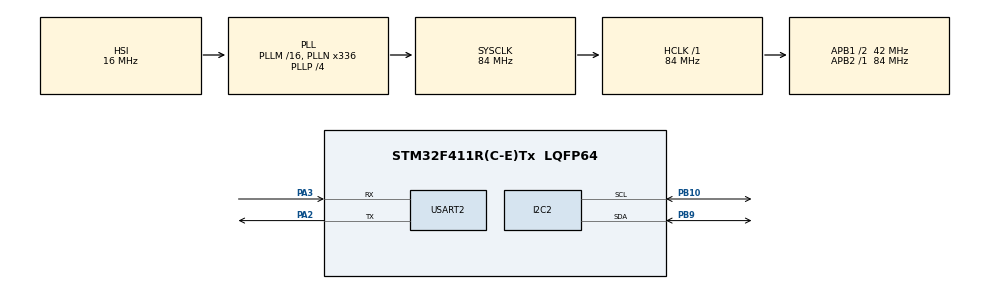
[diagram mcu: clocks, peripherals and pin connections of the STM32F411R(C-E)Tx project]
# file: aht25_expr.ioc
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FREERTOS.Queues01=myQueue01,16,uint16_t,0,Dynamic,NULL,NULL
FREERTOS.Tasks01=Task1,24,128,StartTask1,Default,NULL,Dynamic,NULL,NULL;Task2,8,128,StartTask2,Default,NULL,Dynamic,NULL,NULL
Mcu.Family=STM32F4
Mcu.Name=STM32F411R(C-E)Tx
Mcu.Package=LQFP64
NVIC.PriorityGroup=NVIC_PRIORITYGROUP_4
NVIC.TIM4_IRQn=true\:15\:0\:false\:false\:true\:false\:false\:true\:true
NVIC.TimeBase=TIM4_IRQn
NVIC.TimeBaseIP=TIM4
PA13.Mode=Trace_Asynchronous_SW
PA13.Signal=SYS_JTMS-SWDIO
PA14.Mode=Trace_Asynchronous_SW
PA14.Signal=SYS_JTCK-SWCLK
PA2.Mode=Asynchronous
PA2.Signal=USART2_TX
PA3.Mode=Asynchronous
PA3.Signal=USART2_RX
PB10.GPIO_Pu=GPIO_PULLUP
PB10.Mode=I2C
PB10.Signal=I2C2_SCL
PB3.Mode=Trace_Asynchronous_SW
PB3.Signal=SYS_JTDO-SWO
PB9.GPIO_Pu=GPIO_PULLUP
PB9.Mode=I2C
PB9.Signal=I2C2_SDA
ProjectManager.HeapSize=0x200
ProjectManager.StackSize=0x400
ProjectManager.TargetToolchain=STM32CubeIDE
RCC.48MHZClocksFreq_Value=84000000
RCC.AHBFreq_Value=84000000
RCC.APB1CLKDivider=RCC_HCLK_DIV2
RCC.APB1Freq_Value=42000000
RCC.APB1TimFreq_Value=84000000
RCC.APB2Freq_Value=84000000
RCC.APB2TimFreq_Value=84000000
RCC.CortexFreq_Value=84000000
RCC.FLatency-AdvancedSettings=FLASH_LATENCY_2
RCC.HCLKFreq_Value=84000000
RCC.HSE_VALUE=8000000
RCC.HSI_VALUE=16000000
RCC.PLLN=336
RCC.PLLP=RCC_PLLP_DIV4
RCC.SYSCLKFreq_VALUE=84000000
RCC.SYSCLKSource=RCC_SYSCLKSOURCE_PLLCLK
RCC.VCOOutputFreq_Value=336000000
USART2.VirtualMode=VM_ASYNC
VP_FREERTOS_VS_CMSIS_V2.Mode=CMSIS_V2
VP_SYS_VS_tim4.Mode=TIM4
board=NUCLEO-F411RE

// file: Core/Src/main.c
/* USER CODE BEGIN Header */
/**
  ******************************************************************************
  * @file           : main.c
  * @brief          : Main program body
  ******************************************************************************
  * @attention
  *
  * Copyright (c) 2023 STMicroelectronics.
  * All rights reserved.
  *
  * This software is licensed under terms that can be found in the LICENSE file
  * in the root directory of this software component.
  * If no LICENSE file comes with this software, it is provided AS-IS.
  *
  ******************************************************************************
  */
/* USER CODE END Header */
#include "main.h"
#include "cmsis_os.h"

/* USER CODE BEGIN Includes */
#include "string.h"
#include "stdio.h"

/* USER CODE END Includes */

/* USER CODE BEGIN PD */
#define AHT25_ADDR 0x70
#define AHT25_INIT_CMD 0xE1
#define AHT25_MEASURE_CMD 0xAC
/* USER CODE END PD */

I2C_HandleTypeDef hi2c2;

UART_HandleTypeDef huart2;

/* Definitions for Task1 */
osThreadId_t Task1Handle;
const osThreadAttr_t Task1_attributes = {
  .name = "Task1",
  .stack_size = 128 * 4,
  .priority = (osPriority_t) osPriorityNormal,
};
/* Definitions for Task2 */
osThreadId_t Task2Handle;
const osThreadAttr_t Task2_attributes = {
  .name = "Task2",
  .stack_size = 128 * 4,
  .priority = (osPriority_t) osPriorityLow,
};
/* Definitions for myQueue01 */
osMessageQueueId_t myQueue01Handle;
const osMessageQueueAttr_t myQueue01_attributes = {
  .name = "myQueue01"
};

void SystemClock_Config(void);
static void MX_GPIO_Init(void);
static void MX_USART2_UART_Init(void);
static void MX_I2C2_Init(void);
void StartTask1(void *argument);
void StartTask2(void *argument);

/* USER CODE BEGIN 0 */
float temperature, humidity;

void read_sensor_values(float *temperature, float *humidity)
{
    uint8_t data[6];
    uint8_t cmd = AHT25_MEASURE_CMD;

    HAL_I2C_Master_Transmit(&hi2c2, AHT25_ADDR,&cmd, 1, HAL_MAX_DELAY);
    HAL_Delay(100);
    HAL_I2C_Master_Receive(&hi2c2,0x71, data, 6, HAL_MAX_DELAY);

    *humidity = ((float)((data[1] << 12) | (data[2] << 4) | (data[3] >> 4))) / 1048576.0 * 100.0;
    *temperature = ((float)(((data[3] & 0x0F) << 16) | (data[4] << 8) | data[5])) / 1048576.0 * 200.0 - 50.0;

}

/* USER CODE END 0 */

int main(void)
{

  /* MCU Configuration--------------------------------------------------------*/

  /* Reset of all peripherals, Initializes the Flash interface and the Systick. */
  HAL_Init();

  /* Configure the system clock */
  SystemClock_Config();

  /* Initialize all configured peripherals */
  MX_GPIO_Init();
  MX_USART2_UART_Init();
  MX_I2C2_Init();

  /* Init scheduler */
  osKernelInitialize();

  /* Create the queue(s) */
  /* creation of myQueue01 */
  myQueue01Handle = osMessageQueueNew (16, sizeof(uint16_t), &myQueue01_attributes);

  /* Create the thread(s) */
  /* creation of Task1 */
  Task1Handle = osThreadNew(StartTask1, NULL, &Task1_attributes);

  /* creation of Task2 */
  Task2Handle = osThreadNew(StartTask2, NULL, &Task2_attributes);

  /* Start scheduler */
  osKernelStart();
  /* We should never get here as control is now taken by the scheduler */
  /* Infinite loop */
  while (1)
  {

  }
}

void SystemClock_Config(void)
{
  RCC_OscInitTypeDef RCC_OscInitStruct = {0};
  RCC_ClkInitTypeDef RCC_ClkInitStruct = {0};

  /** Configure the main internal regulator output voltage
  */
  __HAL_RCC_PWR_CLK_ENABLE();
  __HAL_PWR_VOLTAGESCALING_CONFIG(PWR_REGULATOR_VOLTAGE_SCALE1);

  /** Initializes the RCC Oscillators according to the specified parameters
  * in the RCC_OscInitTypeDef structure.
  */
  RCC_OscInitStruct.OscillatorType = RCC_OSCILLATORTYPE_HSI;
  RCC_OscInitStruct.HSIState = RCC_HSI_ON;
  RCC_OscInitStruct.HSICalibrationValue = RCC_HSICALIBRATION_DEFAULT;
  RCC_OscInitStruct.PLL.PLLState = RCC_PLL_ON;
  RCC_OscInitStruct.PLL.PLLSource = RCC_PLLSOURCE_HSI;
  RCC_OscInitStruct.PLL.PLLM = 16;
  RCC_OscInitStruct.PLL.PLLN = 336;
  RCC_OscInitStruct.PLL.PLLP = RCC_PLLP_DIV4;
  RCC_OscInitStruct.PLL.PLLQ = 4;
  if (HAL_RCC_OscConfig(&RCC_OscInitStruct) != HAL_OK)
  {
    Error_Handler();
  }

  /** Initializes the CPU, AHB and APB buses clocks
  */
  RCC_ClkInitStruct.ClockType = RCC_CLOCKTYPE_HCLK|RCC_CLOCKTYPE_SYSCLK
                              |RCC_CLOCKTYPE_PCLK1|RCC_CLOCKTYPE_PCLK2;
  RCC_ClkInitStruct.SYSCLKSource = RCC_SYSCLKSOURCE_PLLCLK;
  RCC_ClkInitStruct.AHBCLKDivider = RCC_SYSCLK_DIV1;
  RCC_ClkInitStruct.APB1CLKDivider = RCC_HCLK_DIV2;
  RCC_ClkInitStruct.APB2CLKDivider = RCC_HCLK_DIV1;

  if (HAL_RCC_ClockConfig(&RCC_ClkInitStruct, FLASH_LATENCY_2) != HAL_OK)
  {
    Error_Handler();
  }
}

static void MX_I2C2_Init(void)
{

  hi2c2.Instance = I2C2;
  hi2c2.Init.ClockSpeed = 100000;
  hi2c2.Init.DutyCycle = I2C_DUTYCYCLE_2;
  hi2c2.Init.OwnAddress1 = 0;
  hi2c2.Init.AddressingMode = I2C_ADDRESSINGMODE_7BIT;
  hi2c2.Init.DualAddressMode = I2C_DUALADDRESS_DISABLE;
  hi2c2.Init.OwnAddress2 = 0;
  hi2c2.Init.GeneralCallMode = I2C_GENERALCALL_DISABLE;
  hi2c2.Init.NoStretchMode = I2C_NOSTRETCH_DISABLE;
  if (HAL_I2C_Init(&hi2c2) != HAL_OK)
  {
    Error_Handler();
  }

}

static void MX_USART2_UART_Init(void)
{

  huart2.Instance = USART2;
  huart2.Init.BaudRate = 115200;
  huart2.Init.WordLength = UART_WORDLENGTH_8B;
  huart2.Init.StopBits = UART_STOPBITS_1;
  huart2.Init.Parity = UART_PARITY_NONE;
  huart2.Init.Mode = UART_MODE_TX_RX;
  huart2.Init.HwFlowCtl = UART_HWCONTROL_NONE;
  huart2.Init.OverSampling = UART_OVERSAMPLING_16;
  if (HAL_UART_Init(&huart2) != HAL_OK)
  {
    Error_Handler();
  }

}

static void MX_GPIO_Init(void)
{

  /* GPIO Ports Clock Enable */
  __HAL_RCC_GPIOA_CLK_ENABLE();
  __HAL_RCC_GPIOB_CLK_ENABLE();

}

void StartTask1(void *argument)
{
  /* USER CODE BEGIN 5 */
  /* Infinite loop */
  for(;;)
  {
	  read_sensor_values(&temperature, &humidity);
    osDelay(1000);
  }
  /* USER CODE END 5 */
}

void StartTask2(void *argument)
{
  /* USER CODE BEGIN StartTask2 */
  /* Infinite loop */
  for(;;)
  {
	  char buffer[100];
	 	  sprintf(buffer, "Temperature: %.2f°C\r", temperature);
	 	  HAL_UART_Transmit(&huart2, (uint8_t*)buffer, strlen(buffer), 1000);
    osDelay(1);
  }
  /* USER CODE END StartTask2 */
}

void HAL_TIM_PeriodElapsedCallback(TIM_HandleTypeDef *htim)
{
  if (htim->Instance == TIM4) {
    HAL_IncTick();
  }
}

void Error_Handler(void)
{
  __disable_irq();
  while (1)
  {
  }
}
